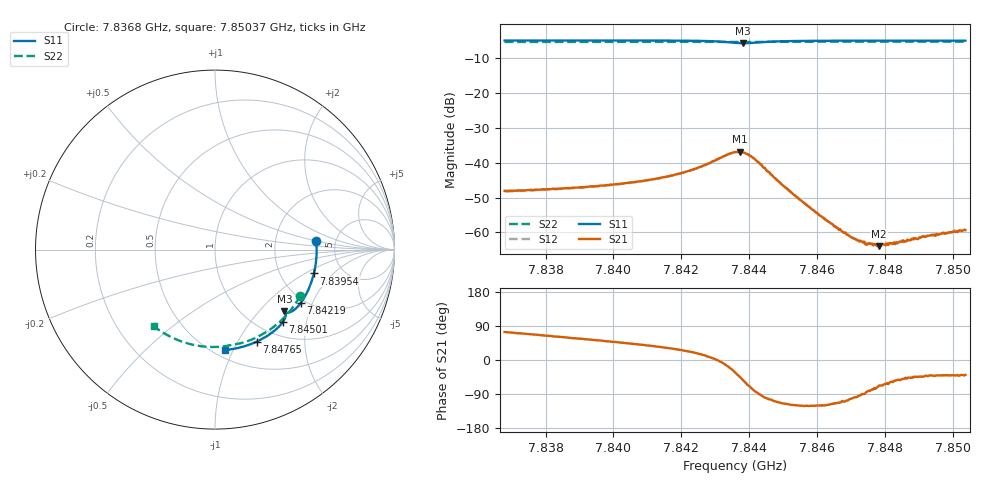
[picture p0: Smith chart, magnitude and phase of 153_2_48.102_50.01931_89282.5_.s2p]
#  HZ  S  RI  R  50.00
! Rohde & Schwarz Vector Network Analyzer
! Rohde-Schwarz,ZNB20-2Port,1311601062101988,3.16
! Created: UTC 12/23/2023, 3:49:59 AM
! freq[Hz]  re:S11  im:S11  re:S21  im:S21  re:S12  im:S12  re:S22  im:S22
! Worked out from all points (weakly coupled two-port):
!   401 points, 7.8368 GHz to 7.85037 GHz, reference 50 ohm
!   highest |S21| = -36.82 dB at 7.84372 GHz (marker M1); lowest = -63.9 dB at 7.84782 GHz (marker M2)
!   lowest |S11| = -5.7 dB at 7.84382 GHz (marker M3), VSWR 3.15, Z = 74.2 - j69.6 ohm
!   |S11| at or under -10 dB: nowhere
!   |S22| runs from -5.4 to -5.3 dB; largest |S21 - S12| = 0.00028
!   S11 on the Smith chart (normalised r, x): 7.8368 GHz: 3.53, +0.51; 7.83954 GHz: 3.10, -1.21; 7.84219 GHz: 1.88, -1.65; 7.84501 GHz: 1.26, -1.47; 7.84765 GHz: 0.80, -1.20; 7.85037 GHz: 0.57, -0.93
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7.836795e9  0.5639 0.0493  0.00109 0.0038  0.00113 0.00369  0.474 -0.2577
7.839069e9  0.5576 -0.1015  0.0025 0.00369  0.00247 0.00363  0.379 -0.385
7.839544e9  0.551 -0.1328  0.00287 0.00365  0.00282 0.00359  0.3548 -0.4078
7.841342e9  0.5084 -0.2477  0.00491 0.00344  0.00485 0.00342  0.2509 -0.4793
7.84219e9  0.4764 -0.2993  0.00698 0.00294  0.0069 0.00299  0.1968 -0.5042
7.843073e9  0.4267 -0.3453  0.0112 -0.000112  0.0112 -6.78e-05  0.1375 -0.5227
7.843582e9  0.3917 -0.3493  0.012 -0.00762  0.0119 -0.0075  0.1037 -0.5291
7.843717e9  0.3876 -0.3456  0.0103 -0.0101  0.0104 -0.01  0.0949 -0.5305
7.843819e9  0.3871 -0.3435  0.00837 -0.0112  0.00853 -0.0113  0.0884 -0.5317
7.843989e9  0.3902 -0.3437  0.00485 -0.012  0.00473 -0.012  0.0777 -0.5338
7.844158e9  0.3941 -0.3496  0.00171 -0.0112  0.00161 -0.011  0.0667 -0.5361
7.845007e9  0.3774 -0.4044  -0.00195 -0.00425  -0.00191 -0.00429  0.00748 -0.5426
7.845855e9  0.3354 -0.4484  -0.00109 -0.00184  -0.00113 -0.00189  -0.0522 -0.5409
7.846568e9  0.2958 -0.4777  -0.000468 -0.00107  -0.000482 -0.0011  -0.102 -0.5344
7.847009e9  0.2702 -0.4934  -0.000178 -0.000833  -0.000164 -0.000847  -0.1323 -0.5279
7.847416e9  0.2459 -0.5063  2.03e-05 -0.000683  2.95e-05 -0.000724  -0.1598 -0.5205
7.847653e9  0.2314 -0.5129  0.000136 -0.000639  0.000165 -0.000668  -0.1759 -0.5155
7.847823e9  0.221 -0.5178  0.00024 -0.000589  0.000225 -0.000646  -0.1871 -0.5118
7.848128e9  0.202 -0.5256  0.000354 -0.000614  0.000318 -0.000582  -0.207 -0.5041
7.849655e9  0.104 -0.553  0.000721 -0.000625  0.000769 -0.000667  -0.3019 -0.4547
7.849825e9  0.0929 -0.5549  0.000751 -0.000619  0.000738 -0.000663  -0.3117 -0.4481
7.850368e9  0.0571 -0.5594  0.000837 -0.000685  0.000852 -0.000714  -0.3424 -0.4256
